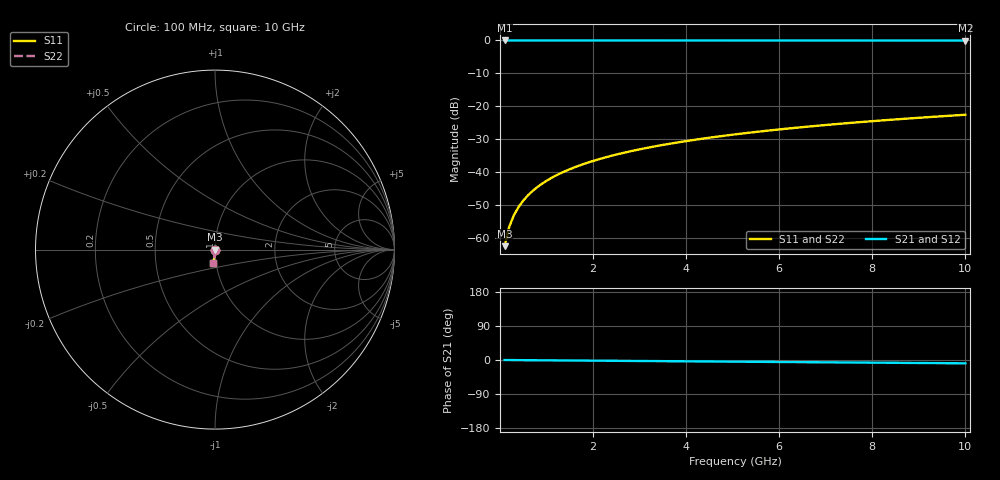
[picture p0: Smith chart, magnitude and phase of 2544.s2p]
# Hz S RI R 50.00
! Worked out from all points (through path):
!   100 points, 100 MHz to 10 GHz, reference 50 ohm
!   highest |S21| = 0.00 dB at 100 MHz (marker M1); lowest = 0.0 dB at 10 GHz (marker M2)
!   group delay of S21, straight-line fit = 2.43 ps
!   lowest |S11| = -62.5 dB at 100 MHz (marker M3), VSWR 1.00, Z = 50 - j0.0736 ohm
!   |S11| at or under -10 dB: start of sweep to end of sweep
!   |S22| runs from -62.5 to -22.6 dB; largest |S21 - S12| = 0
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1e8  0.000135 -0.000736  0.9999 -0.00151  0.9999 -0.00151  0.000135 -0.000736
2e8  0.000132 -0.00147  0.9999 -0.00302  0.9999 -0.00302  0.000132 -0.00147
3e8  0.000126 -0.00221  0.9998 -0.00452  0.9998 -0.00452  0.000126 -0.00221
4e8  0.000118 -0.00294  0.9998 -0.00603  0.9998 -0.00603  0.000118 -0.00294
5e8  0.000107 -0.00368  0.9998 -0.00754  0.9998 -0.00754  0.000107 -0.00368
6e8  9.41e-05 -0.00442  0.9998 -0.00905  0.9998 -0.00905  9.41e-05 -0.00442
7e8  7.9e-05 -0.00515  0.9998 -0.0106  0.9998 -0.0106  7.9e-05 -0.00515
8e8  6.16e-05 -0.00589  0.9998 -0.0121  0.9998 -0.0121  6.16e-05 -0.00589
9e8  4.2e-05 -0.00663  0.9997 -0.0136  0.9997 -0.0136  4.2e-05 -0.00663
1.1e9  -3.99e-06 -0.0081  0.9997 -0.0166  0.9997 -0.0166  -3.99e-06 -0.0081
1.4e9  -8.98e-05 -0.0103  0.9996 -0.0211  0.9996 -0.0211  -8.98e-05 -0.0103
1.8e9  -0.000236 -0.0133  0.9994 -0.0272  0.9994 -0.0272  -0.000236 -0.0133
2.1e9  -0.000369 -0.0155  0.9992 -0.0317  0.9992 -0.0317  -0.000369 -0.0155
2.5e9  -0.000578 -0.0184  0.9989 -0.0378  0.9989 -0.0378  -0.000578 -0.0184
2.9e9  -0.000823 -0.0214  0.9986 -0.0438  0.9986 -0.0438  -0.000823 -0.0214
3.4e9  -0.00118 -0.0251  0.9982 -0.0514  0.9982 -0.0514  -0.00118 -0.0251
4.2e9  -0.00187 -0.031  0.9973 -0.0635  0.9973 -0.0635  -0.00187 -0.031
5.1e9  -0.00282 -0.0376  0.9961 -0.0772  0.9961 -0.0772  -0.00282 -0.0376
5.9e9  -0.00382 -0.0435  0.9948 -0.0894  0.9948 -0.0894  -0.00382 -0.0435
6.7e9  -0.00497 -0.0494  0.9934 -0.1015  0.9934 -0.1015  -0.00497 -0.0494
8.4e9  -0.00789 -0.0618  0.9896 -0.1274  0.9896 -0.1274  -0.00789 -0.0618
1e10  -0.0112 -0.0734  0.9854 -0.1516  0.9854 -0.1516  -0.0112 -0.0734
